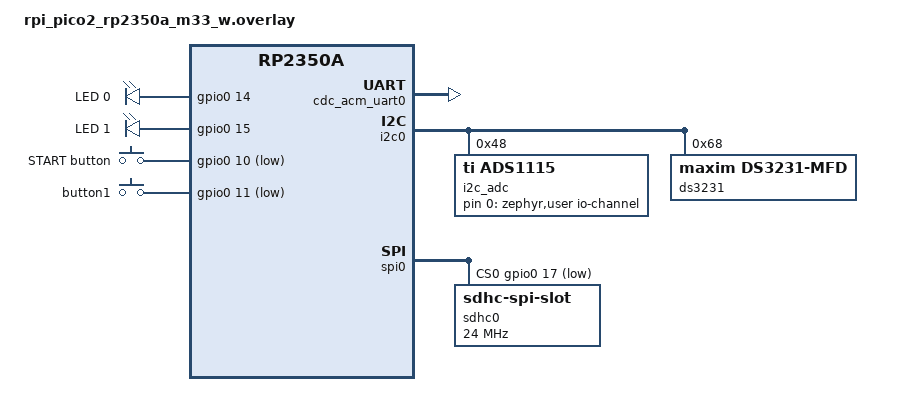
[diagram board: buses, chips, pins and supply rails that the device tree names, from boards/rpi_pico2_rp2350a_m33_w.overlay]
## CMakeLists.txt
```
cmake_minimum_required(VERSION 3.20.0)

find_package(Zephyr)
project(my_zephyr_app)

target_sources(app PRIVATE src/main.c src/heat_sensor.c src/write.c)
target_include_directories(app PRIVATE src/)
```

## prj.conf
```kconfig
CONFIG_GPIO=y
CONFIG_INPUT=y
#CONFIG_INPUT_EVENT_DUMP=y

CONFIG_ADC_INIT_PRIORITY=50
CONFIG_I2C_DW_CLOCK_SPEED=150
CONFIG_POLL=y
CONFIG_ADC=y
CONFIG_ADC_ASYNC=y
CONFIG_ADC_STREAM=y

CONFIG_ADC_ADS1X1X=y
CONFIG_ADC_ADS1X1X_INIT_PRIORITY=80
CONFIG_ADC_ADS1X1X_ACQUISITION_THREAD_PRIO=0
CONFIG_ADC_ADS1X1X_ACQUISITION_THREAD_STACK_SIZE=1024
#CONFIG_ADC_RPI_PICO=y


CONFIG_RTC=y

CONFIG_I2C=y
CONFIG_I2C_SHELL_BUFFER_SIZE=16
CONFIG_I2C_CALLBACK=y

CONFIG_I2C_DW=y
CONFIG_I2C_DW_RW_TIMEOUT_MS=100
CONFIG_I2C_INIT_PRIORITY=50

CONFIG_SYS_MEM_BLOCKS=y

CONFIG_RTIO=y
CONFIG_RTIO_SUBMIT_SEM=y
CONFIG_RTIO_CONSUME_SEM=y
CONFIG_RTIO_SYS_MEM_BLOCKS=y
CONFIG_RTIO_OP_DELAY=y


CONFIG_SERIAL=y
CONFIG_CONSOLE=y
CONFIG_UART_CONSOLE=y
CONFIG_STDOUT_CONSOLE=y
CONFIG_UART_LINE_CTRL=y

CONFIG_USB_DEVICE_STACK_NEXT=y
CONFIG_CDC_ACM_SERIAL_INITIALIZE_AT_BOOT=y
CONFIG_CDC_ACM_SERIAL_PID=0x0004
CONFIG_CDC_ACM_SERIAL_PRODUCT_STRING="USBD console sample"


CONFIG_LOG=y
CONFIG_LOG_MODE_DEFERRED=y
CONFIG_LOG_RUNTIME_FILTERING=y
CONFIG_LOG_BUFFER_SIZE=4096
CONFIG_LOG_PRINTK=y
CONFIG_LOG_PROCESS_TRIGGER_THRESHOLD=0
CONFIG_COVERAGE=n
CONFIG_LOG_TAG_MAX_LEN=8

CONFIG_FILE_SYSTEM=y
CONFIG_FAT_FILESYSTEM_ELM=y
CONFIG_FS_FATFS_MOUNT_MKFS=n
CONFIG_CBPRINTF_LIBC_SUBSTS=y
CONFIG_DISK_ACCESS=y
CONFIG_DISK_LOG_LEVEL_DBG=y
CONFIG_SD_LOG_LEVEL_DBG=y
CONFIG_SDHC_LOG_LEVEL_DBG=y
CONFIG_SDMMC_LOG_LEVEL_DBG=y
```

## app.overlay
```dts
/* SPDX-License-Identifier: Apache-2.0 */



/ {
	zephyr,user {
		io-channels = <&i2c_adc 0>;
	};
    chosen {
        zephyr,console = &cdc_acm_uart0;
    };
	aliases {
		ledok = &led0;
		ledbusy = &led1;
		fluxsensor = &i2c_adc;
	};
	leds {
		compatible = "gpio-leds";

		led0: led_0 {
			gpios = <&gpio0 4 GPIO_ACTIVE_HIGH>;
			label = "LED 0";
		};
		led1: led_1 {
			gpios = <&gpio0 5 GPIO_ACTIVE_HIGH>;
			label = "LED 1";
		};
	};
};


&zephyr_udc0 {
	cdc_acm_uart0: cdc_acm_uart0 {
		compatible = "zephyr,cdc-acm-uart";
	};
};

&pinctrl {
	i2c0_custom: i2c0_custom {
		group1 {
			pinmux = <I2C0_SDA_P0>, <I2C0_SCL_P1>;
			input-enable;
			input-schmitt-enable;
		};
	};


};

&i2c0 {
	status = "okay";
	pinctrl-0 = <&i2c0_custom>;

	i2c_adc: ads1115@48 {
		status = "okay";
		compatible = "ti,ads1115";
		reg = <0x48>;
		#io-channel-cells = <1>;
		#address-cells = <1>;
		#size-cells = <0>;
		channel@0 {
			reg = <0>;
			zephyr,gain = "ADC_GAIN_2";
			zephyr,reference = "ADC_REF_INTERNAL";
			zephyr,acquisition-time = <ADC_ACQ_TIME_DEFAULT>;
			zephyr,differential;
			zephyr,input-positive = <0>;
			zephyr,input-negative = <3>;
			zephyr,resolution = <16>;
		};
	};
};

&spi1 {
	status = "okay";
};

&sdhc0 {
	sdmmc {
		compatible = "zephyr,sdmmc-disk";
		status = "okay";
		//disk-name = "SD";
	};
	status = "okay";
};
```

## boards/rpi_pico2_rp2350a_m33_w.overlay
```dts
/* SPDX-License-Identifier: Apache-2.0 */

#include <zephyr/dt-bindings/input/input-event-codes.h>


/ {
    zephyr,user {
        io-channels = <&i2c_adc 0>;
    };
    chosen {
        zephyr,console = &cdc_acm_uart0;
    };
    aliases {
        rtc = &ds3231_rtc;
        ledok = &led0;
        ledbusy = &led1;
        fluxsensor = &i2c_adc;
        btnstart = &button0;
    };
    leds {
        compatible = "gpio-leds";

        led0: led_0 {
            gpios = <&gpio0 14 GPIO_ACTIVE_HIGH>;
            label = "LED 0";
        };
        led1: led_1 {
            gpios = <&gpio0 15 GPIO_ACTIVE_HIGH>;
            label = "LED 1";
        };
    };
    buttons {
        compatible = "gpio-keys";
        status = "okay";

        button0: button_0 {
            gpios = <&gpio0 10 (GPIO_PULL_UP | GPIO_ACTIVE_LOW)>;
            zephyr,code = <INPUT_KEY_0>;
            label = "START button";
        };
        button1: button_1 {
            gpios = <&gpio0 11 (GPIO_PULL_UP | GPIO_ACTIVE_LOW)>;
            zephyr,code = <INPUT_KEY_1>;
        };
    };
};


&zephyr_udc0 {
	cdc_acm_uart0: cdc_acm_uart0 {
		compatible = "zephyr,cdc-acm-uart";
	};
};

&pinctrl {

};

&i2c0 {
    status = "okay";

    i2c_adc: ads1115@48 {
        status = "okay";
        compatible = "ti,ads1115";
        reg = <0x48>;
        #io-channel-cells = <1>;
        #address-cells = <1>;
        #size-cells = <0>;
        channel@0 {
            reg = <0>;
            zephyr,gain = "ADC_GAIN_2";
            zephyr,reference = "ADC_REF_INTERNAL";
            zephyr,acquisition-time = <ADC_ACQ_TIME_DEFAULT>;
            zephyr,differential;
            zephyr,input-positive = <0>;
            zephyr,input-negative = <3>;
            zephyr,resolution = <16>;
        };
    };

    ds3231: ds3231@68 {
        compatible = "maxim,ds3231-mfd";
        reg = <0x68>;
        status = "okay";

        ds3231_sensor: ds3231_sensor {
                compatible = "maxim,ds3231-sensor";
                status = "okay";
        };

        ds3231_rtc: ds3231_rtc {
                compatible = "maxim,ds3231-rtc";
                status = "okay";

                isw-gpios = <&gpio0 6 (GPIO_PULL_UP | GPIO_ACTIVE_LOW)>;
                //freq-32khz-gpios = <&gpio0 33 (GPIO_PULL_UP | GPIO_ACTIVE_LOW)>;
        };
};
};

&spi0 {
        status = "okay";
        cs-gpios = <&gpio0 17 GPIO_ACTIVE_LOW>;

        sdhc0: sdhc@0 {
                compatible = "zephyr,sdhc-spi-slot";
                reg = <0>;
                status = "okay";
                mmc {
                    compatible = "zephyr,sdmmc-disk";
                    disk-name = "SD";
                    status = "okay";
                };
                spi-max-frequency = <24000000>;
        };
};
```

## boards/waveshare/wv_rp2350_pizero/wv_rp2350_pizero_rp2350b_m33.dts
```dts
/*
 * Copyright (c) 2024 Andrew Featherstone
 * Copyright (c) 2024 Fabien Georget
 *
 * SPDX-License-Identifier: Apache-2.0
 */

/dts-v1/;

#include <raspberrypi/rpi_pico/rp2350b.dtsi>
#include <raspberrypi/rpi_pico/m33.dtsi>

#include <freq.h>

#include <zephyr/dt-bindings/i2c/i2c.h>
#include <zephyr/dt-bindings/pwm/pwm.h>
#include <zephyr/dt-bindings/pinctrl/rpi-pico-rp2350b-pinctrl.h>

&pinctrl {
	uart0_default: uart0_default {
		group1 {
			pinmux = <UART0_TX_P0>;
		};

		group2 {
			pinmux = <UART0_RX_P1>;
			input-enable;
		};
	};

	i2c0_default: i2c0_default {
		group1 {
			pinmux = <I2C0_SDA_P0>, <I2C0_SCL_P1>;
			input-enable;
			input-schmitt-enable;
		};
	};

	i2c1_default: i2c1_default {
		group1 {
			pinmux = <I2C1_SDA_P6>, <I2C1_SCL_P7>;
			input-enable;
			input-schmitt-enable;
		};
	};

	spi0_default: spi0_default {
		group1 {
			pinmux = <SPI0_CSN_P17>, <SPI0_SCK_P18>, <SPI0_TX_P19>;
		};

		group2 {
			pinmux = <SPI0_RX_P16>;
			input-enable;
		};
	};

	spi1_default: spi1_default {
		group1 {
			pinmux = <SPI1_TX_P43>, <SPI1_SCK_P30>, <SPI1_TX_P31>;
		};

		group2 {
			pinmux = <SPI1_RX_P40>;
			input-enable;
		};
	};

	pio0_spi0_default: pio0_spi0_default {
	/* gpio 10 is used for chip select, not assigned to the PIO */
		group1 {
			pinmux = <PIO0_P30>, <PIO0_P31>;
		};
	};

	pwm_ch4b_default: pwm_ch4b_default {
		group1 {
			pinmux = <PWM_4B_P25>;
		};
	};

	adc_default: adc_default {
		group1 {
			pinmux = <ADC_CH1_P41>, <ADC_CH2_P42>, <ADC_CH4_P44>, <ADC_CH5_P45>, <ADC_CH6_P46>, <ADC_CH7_P47>;
			input-enable;
		};
	};
};


/ {
	chosen {
		zephyr,sram = &sram0;
		zephyr,flash = &flash0;
		zephyr,flash-controller = &qmi;
		zephyr,console = &uart0;
		zephyr,shell-uart = &uart0;
	};

	aliases {
		watchdog0 = &wdt0;
	};

	pico_header: connector {
		compatible = "raspberrypi,pico-header";
		#gpio-cells = <2>;
		gpio-map-mask = <0xffffffff 0xffffffc0>;
		gpio-map-pass-thru = <0 0x3f>;
		gpio-map = <0 0 &gpio0 0 0>,	/* GP0 */
			   <1 0 &gpio0 1 0>,	/* GP1 */
			   <2 0 &gpio0 2 0>,	/* GP2 */
			   <3 0 &gpio0 3 0>,	/* GP3 */
			   <4 0 &gpio0 4 0>,	/* GP4 */
			   <5 0 &gpio0 5 0>,	/* GP5 */
			   <6 0 &gpio0 6 0>,	/* GP6 */
			   <7 0 &gpio0 7 0>,	/* GP7 */
			   <8 0 &gpio0 8 0>,	/* GP8 */
			   <9 0 &gpio0 9 0>,	/* GP9 */
			   <10 0 &gpio0 10 0>,	/* GP10 */
			   <11 0 &gpio0 11 0>,	/* GP11 */
			   <12 0 &gpio0 12 0>,	/* GP12 */
			   <13 0 &gpio0 13 0>,	/* GP13 */
			   <14 0 &gpio0 14 0>,	/* GP14 */
			   <15 0 &gpio0 15 0>,	/* GP15 */
			   <16 0 &gpio0 16 0>,	/* GP16 */
			   <17 0 &gpio0 17 0>,	/* GP17 */
			   <18 0 &gpio0 18 0>,	/* GP18 */
			   <19 0 &gpio0 19 0>,	/* GP19 */
			   <20 0 &gpio0 20 0>,	/* GP20 */
			   <21 0 &gpio0 21 0>,	/* GP21 */
			   <22 0 &gpio0 22 0>,	/* GP22 */
			   <26 0 &gpio0 26 0>;	/* GP26 */
	};
};

&flash0 {
	reg = <0x10000000 DT_SIZE_M(16)>;
};

&uart0 {
	current-speed = <115200>;
	status = "okay";
	pinctrl-0 = <&uart0_default>;
	pinctrl-names = "default";
};

gpio0_lo: &gpio0 {
	status = "okay";
};

&spi0 {
	clock-frequency = <DT_FREQ_M(8)>;
	pinctrl-0 = <&spi0_default>;
	pinctrl-names = "default";
};

&pio0 {
	status = "okay";

	pio_spi: pio0_spi0 {
		compatible = "raspberrypi,pico-spi-pio";
		clocks = <&clocks RPI_PICO_CLKID_CLK_SYS>;
		#address-cells = <1>;
		#size-cells = <0>;
		cs-gpios = <&gpio0 43 GPIO_ACTIVE_LOW>;
		clk-gpios = <&gpio0 30 GPIO_ACTIVE_HIGH>;
		mosi-gpios = <&gpio0 31 GPIO_ACTIVE_HIGH>;
		miso-gpios = <&gpio0 40 GPIO_ACTIVE_HIGH>;
		pinctrl-0 = <&pio0_spi0_default>;
		pinctrl-names = "default";
	};

	sdhc0: sdhc {
		compatible = "zephyr,sdhc-spi-slot";
	};
};


&spi1 {
	clock-frequency = <DT_FREQ_M(8)>;
	pinctrl-0 = <&spi1_default>;
	pinctrl-names = "default";

	//cs-gpios = <&gpio0 43 GPIO_ACTIVE_LOW>;

	//clk-gpios = <&gpio0 30 GPIO_ACTIVE_HIGH>;
	//mosi-gpios = <&gpio0 31 GPIO_ACTIVE_HIGH>;
	//miso-gpios = <&gpio0 40 GPIO_ACTIVE_HIGH>;

};

&i2c0 {
	clock-frequency = <I2C_BITRATE_STANDARD>;
	pinctrl-0 = <&i2c0_default>;
	pinctrl-names = "default";
};

&i2c1 {
	clock-frequency = <I2C_BITRATE_STANDARD>;
	pinctrl-0 = <&i2c1_default>;
	pinctrl-names = "default";
};

&adc {
	pinctrl-0 = <&adc_default>;
	pinctrl-names = "default";
};

&pwm {
	pinctrl-0 = <&pwm_ch4b_default>;
	pinctrl-names = "default";
	divider-int-0 = <255>;
};

&timer0 {
	status = "okay";
};

&wdt0 {
	status = "okay";
};

&rng {
	status = "okay";
};

zephyr_udc0: &usbd {
	status = "okay";
};

pico_spi: &spi0 {};

pico_spi0: &spi0 {};

pico_i2c: &i2c0 {};

pico_i2c0: &i2c0 {};

pico_i2c1: &i2c1 {};

pico_serial: &uart0 {};

pico_serial0: &uart0 {};
```

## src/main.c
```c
#include <zephyr/kernel.h>

#include <zephyr/device.h>
#include <zephyr/drivers/uart.h>
#include <zephyr/logging/log.h>

#include <zephyr/sys/printk.h>

#include <zephyr/drivers/gpio.h>
#include <zephyr/input/input.h>
#include <zephyr/device.h>

#include "app.h"
#include "heat_sensor.h"
#include "write.h"
#include "zephyr/dt-bindings/input/input-event-codes.h"



LOG_MODULE_REGISTER(main, LOG_LEVEL_INF);

#define SLEEP_TIME_MS 5000

BUILD_ASSERT(DT_NODE_HAS_COMPAT(DT_CHOSEN(zephyr_console), zephyr_cdc_acm_uart),
	     "Console device is not ACM CDC UART device");

static const struct gpio_dt_spec led_ok = GPIO_DT_SPEC_GET(DT_ALIAS(ledok), gpios);
static const struct gpio_dt_spec led_busy = GPIO_DT_SPEC_GET(DT_ALIAS(ledbusy), gpios);

//static const struct device *const btn_start = DEVICE_DT_GET(DT_ALIAS(btnstart));

int init_leds() {
	int ret;

	if (!gpio_is_ready_dt(&led_ok) || !gpio_is_ready_dt(&led_busy)) {
		LOG_ERR("LEDS not ready");
		return -1;
	}
	ret = gpio_pin_configure_dt(&led_ok, GPIO_OUTPUT_ACTIVE);
	if (ret < 0) {
		LOG_ERR("Cannot set led_ok");
		return ret;
	}
	ret = gpio_pin_configure_dt(&led_busy, GPIO_OUTPUT_INACTIVE);
	if (ret < 0) {
		LOG_ERR("Cannot set led_busy");
		return ret;
	}
	LOG_INF("Leds configured");
	return 0;
}


K_THREAD_STACK_DEFINE(heatsensor_stack_area, 8192);
struct k_thread heatsensor_thread_data;

K_THREAD_STACK_DEFINE(write_stack_area, 8192);
struct k_thread write_thread_data;

K_FIFO_DEFINE(ht_fifo);

INIT_APPSTATE(app_state);

static void btn_start_cb(struct input_event *evt, void *user_data) {
	app_state_t* app_state = (app_state_t *) user_data;
	if (evt->sync == 0) {
		return;
	}
	if (evt->code == INPUT_KEY_0) {
		if (evt->value == 0) {
			if (app_state->measurement_state == OngoingMeasurement) {
				app_state->measurement_state = StopMeasurement;
			}
			else if (app_state->measurement_state == StoppedMeasurement) {
				app_state->measurement_state = StartMeasurement;
			}
		}
	}
}
INPUT_CALLBACK_DEFINE(NULL, btn_start_cb, &app_state);


int main(void)
{


	int ret;
	bool led_state = true;

	const struct device *const dev = DEVICE_DT_GET(DT_CHOSEN(zephyr_console));
	uint32_t dtr = 0;



	LOG_INF("Initialization console");
	/* Poll if the DTR flag was set */
	while (!dtr) {
		uart_line_ctrl_get(dev, UART_LINE_CTRL_DTR, &dtr);
		LOG_INF("Initialization console in progress");
		/* Give CPU resources to low priority threads. */
		k_sleep(K_MSEC(100));
	}
	LOG_PRINTK("Console ready !\n");

	k_sleep(K_SECONDS(1));

	if (init_leds() < 0) {
		LOG_ERR("LEDS Not ready, aborting");
		//return 0;
	}

	k_tid_t heat_sensor_tid = k_thread_create(
		&heatsensor_thread_data, heatsensor_stack_area,
		K_THREAD_STACK_SIZEOF(heatsensor_stack_area),
		heat_sensor_thread,
		(void *) &ht_fifo, (void *) &app_state, NULL,
		5, 0, K_NO_WAIT);
	LOG_INF("Start heat sensor thread");
	k_tid_t write_tid = k_thread_create(
		&write_thread_data, write_stack_area,
		K_THREAD_STACK_SIZEOF(write_stack_area),
		write_thread,
		(void *) &ht_fifo, NULL, NULL,
		20, 0, K_NO_WAIT);
	LOG_INF("Start write thread");

	while (1) {
		switch (app_state.measurement_state) {
			case StartMeasurement:
				LOG_PRINTK("--- Start Measurement ---\n");
				gpio_pin_configure_dt(&led_busy, GPIO_OUTPUT_ACTIVE);
				gpio_pin_configure_dt(&led_ok, GPIO_OUTPUT_INACTIVE);
				app_state.measurement_state = OngoingMeasurement;
				break;
			case StopMeasurement:
				LOG_PRINTK("--- Stop Measurement ---\n");
				gpio_pin_configure_dt(&led_busy, GPIO_OUTPUT_INACTIVE);
				gpio_pin_configure_dt(&led_ok, GPIO_OUTPUT_ACTIVE);
				app_state.measurement_state = StoppedMeasurement;
				break;
			default:
				break;
		};
		k_sleep(K_MSEC(10));
	}

	return 0;
}
```

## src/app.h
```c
/*
 * Shared information
 *
 */

#ifndef CALORIMETER_APP_H
#define CALORIMETER_APP_H

#include <stdbool.h>

// State of the SD card reader
// ---------------------------
typedef enum {
    SDCardError = -1, // Some error happen
    SDCardNoInit = 0,
    SDCardInit = 1
} SDCardState;

typedef enum {
    StartMeasurement,
    OngoingMeasurement,
    StopMeasurement,
    StoppedMeasurement
} MeasurementState;

// Holders for the various shared values
typedef struct {

    MeasurementState measurement_state;
    SDCardState sd_card_state;

} app_state_t;

#define INIT_APPSTATE(X) static app_state_t X = {.measurement_state=StoppedMeasurement, .sd_card_state=SDCardNoInit}

#endif // CALORIMETER_APP_H
```

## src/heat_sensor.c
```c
#include "heat_sensor.h"
#include "app.h"

#include <zephyr/kernel.h>
#include <zephyr/device.h>

#include <zephyr/logging/log.h>
#include <zephyr/sys/printk.h>
#include <zephyr/drivers/gpio.h>
#include <zephyr/drivers/i2c.h>
#include <zephyr/drivers/adc.h>

// Configuration
// -------------

// time between measure
#define TIME_BETWEEN_MEASURE K_SECONDS(2)

// Logging
// --------
LOG_MODULE_REGISTER(heat_sensor, LOG_LEVEL_INF);

// Devices from DT
// ---------------
static const struct adc_dt_spec fluxsensor = ADC_DT_SPEC_GET_BY_IDX(DT_PATH(zephyr_user), 0);
const struct device *const rtc = DEVICE_DT_GET(DT_ALIAS(rtc));

/* Get time from the RTC module
 */
static int get_date_time(struct rtc_time* tm) {
    int ret = rtc_get_time(rtc, tm);
    if (ret < 0) {
        LOG_ERR("Cannot read date time: %d\n", ret);
        return ret;
    }
    return 0;
}

/* @brief Measure heat flow
 *
 * @param sequence Structure defining an ADC sampling sequence
 * @param measure  Structure contenant le résultat
 *
 * @return True if measure and conversion was successful
 */
bool measure_heat(struct adc_sequence* sequence, heat_measure_t *measure) {
    int ret = adc_read_dt(&fluxsensor, sequence);
    if (ret < 0) {
        LOG_ERR("Could not read channel %d\n", ret);
        return false;
    }
    get_date_time(&(measure->time));
    measure->uv  = (int32_t)(*((int16_t*) sequence->buffer));
    ret = adc_raw_to_microvolts_dt(&fluxsensor, &(measure->uv));
    LOG_PRINTK(" = %"PRId32" uV\n", measure->uv);
    return true;
}

/* @brief Initialize the ADC
 *
 * @param sequence Structure defining an ADC sampling sequence
 *
 * @return 0 si initialization succesful, <0 if error
 */
static int init_adc(struct adc_sequence* sequence) {
    /* Configure channels individually prior to sampling. */
    adc_sequence_init_dt(&fluxsensor, sequence);
    if (!adc_is_ready_dt(&fluxsensor)) {
        LOG_ERR("ADC controller device %s not ready\n", fluxsensor.dev->name);
        return -1;
    }
    int err = adc_channel_setup_dt(&fluxsensor);
    if (err < 0) {
        LOG_ERR("Could not setup channel %d\n", err);
        return err;
    }
    LOG_INF("ADC: Initialized");
    return 0;
}

void heat_sensor_thread(void *p1, void *p2, void *p3) {
    struct k_fifo* ht_fifo = (struct k_fifo*) p1;
    app_state_t* app_state = (app_state_t*) p2;
    uint16_t buf; // The main buffer

    struct adc_sequence sequence;
    sequence.buffer = &buf;
    sequence.buffer_size = sizeof(buf);/* buffer size in bytes, not number of samples */

    // Initialize The ADC
    init_adc(&sequence);

    while (1) {
        // TODO use ISR
        if (app_state->measurement_state == OngoingMeasurement) {
            heat_measure_t measure;
            measure_heat(&sequence, &measure);

            k_fifo_put(ht_fifo, &measure);
        }

        k_sleep(TIME_BETWEEN_MEASURE);
    }
}
```

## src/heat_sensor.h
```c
#ifndef CALO_HEAT_SENSOR_H
#define CALO_HEAT_SENSOR_H

#include <zephyr/drivers/rtc.h>

typedef struct {
    // A type to store the reseult of a measurement
    // aimed to be send through a FIFO queue for further processing
    void *fifo_reserved;
    struct rtc_time time;
    int32_t uv;
} heat_measure_t;

/* The main entry point of the thread responsible to measure the heat flux
 *
 */
void heat_sensor_thread(void *ht_fifo, void *app_state, void *p3);

#endif //CALO_HEAT_SENSOR_H
```

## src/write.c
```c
#include "write.h"
#include "heat_sensor.h"

#include <string.h>
#include <zephyr/kernel.h>
#include <zephyr/device.h>
#include <zephyr/storage/disk_access.h>
#include <zephyr/logging/log.h>
#include <zephyr/fs/fs.h>
#include <zephyr/drivers/uart.h>


LOG_MODULE_REGISTER(write_thread, LOG_LEVEL_INF);

#if defined(CONFIG_FAT_FILESYSTEM_ELM)

#include <ff.h>

/*
 *  Note the fatfs library is able to mount only strings inside _VOLUME_STRS
 *  in ffconf.h
 */
#if defined(CONFIG_DISK_DRIVER_MMC)
#define DISK_DRIVE_NAME "SD2"
#else
#define DISK_DRIVE_NAME "SD"
#endif

#define DISK_MOUNT_PT "/"DISK_DRIVE_NAME":"

static FATFS fat_fs;
/* mounting info */
static struct fs_mount_t mp = {
    .type = FS_FATFS,
    .fs_data = &fat_fs,
};

#elif defined(CONFIG_FILE_SYSTEM_EXT2)

#include <zephyr/fs/ext2.h>

#define DISK_DRIVE_NAME "SD"
#define DISK_MOUNT_PT "/ext"

static struct fs_mount_t mp = {
    .type = FS_EXT2,
    .flags = FS_MOUNT_FLAG_NO_FORMAT,
    .storage_dev = (void *)DISK_DRIVE_NAME,
    .mnt_point = "/ext",
};

#endif

#if defined(CONFIG_FAT_FILESYSTEM_ELM)
#define FS_RET_OK FR_OK
#else
#define FS_RET_OK 0
#endif


#define MAX_PATH 128
#define SOME_FILE_NAME "some.dat"
#define SOME_DIR_NAME "some"
#define SOME_REQUIRED_LEN MAX(sizeof(SOME_FILE_NAME), sizeof(SOME_DIR_NAME))


static bool write_to_file(const char *base_path, heat_measure_t *data)
{
    char path[MAX_PATH];
    struct fs_file_t file;
    int base = strlen(base_path);

    fs_file_t_init(&file);


    strncpy(path, base_path, sizeof(path));

    path[base++] = '/';
    path[base] = 0;
    strcat(&path[base], SOME_FILE_NAME);


    if (fs_open(&file, path, FS_O_CREATE | FS_O_RDWR | FS_O_APPEND) != 0) {
        LOG_ERR("Failed to open file %s", path);
        return false;
    }
    char buf[128];
    sprintf(buf, "%04d-%02d-%02d %02d:%02d:%02d - %"PRId32" uV\n",
            data->time.tm_year + 1900,
            data->time.tm_mon + 1,
            data->time.tm_mday,
            data->time.tm_hour,
            data->time.tm_min,
            data->time.tm_sec,
            data->uv);
    int ret = fs_write(&file, buf, strlen(buf));
    if (ret < 0) {
        LOG_ERR("FAIL: write %s: %d", path, ret);
    }

    if (fs_close(&file)) {
        LOG_ERR("Failed to open file %s", path);
        return false;
    }
    return true;
}


static const char *disk_mount_pt = DISK_MOUNT_PT;
void write_thread(void *p1, void *p2, void *p3) {

    struct k_fifo *ht_fifo = (struct k_fifo*) p1;

    k_sleep(K_SECONDS(1));
    /* raw disk i/o */
    do {
        static const char *disk_pdrv = DISK_DRIVE_NAME;
        uint64_t memory_size_mb;
        uint32_t block_count;
        uint32_t block_size;

        if (disk_access_ioctl(disk_pdrv,
            DISK_IOCTL_CTRL_INIT, NULL) != 0) {
            LOG_ERR("Storage init ERROR!");
        break;
            }

            if (disk_access_ioctl(disk_pdrv,
                DISK_IOCTL_GET_SECTOR_COUNT, &block_count)) {
                LOG_ERR("Unable to get sector count");
            break;
                }
                LOG_INF("Block count %u", block_count);

                if (disk_access_ioctl(disk_pdrv,
                    DISK_IOCTL_GET_SECTOR_SIZE, &block_size)) {
                    LOG_ERR("Unable to get sector size");
                break;
                    }
                    LOG_PRINTK("Sector size %u\n", block_size);

                    memory_size_mb = (uint64_t)block_count * block_size;
                    LOG_PRINTK("Memory Size(MB) %u\n", (uint32_t)(memory_size_mb >> 20));

                    if (disk_access_ioctl(disk_pdrv,
                        DISK_IOCTL_CTRL_DEINIT, NULL) != 0) {
                        LOG_ERR("Storage deinit ERROR!");
                    break;
                        }
    } while (0);

    mp.mnt_point = disk_mount_pt;

    int res = fs_mount(&mp);
    if (res != FS_RET_OK) {
        LOG_PRINTK("Error mounting disk.\n");
        k_sleep(K_SECONDS(1));
    }
    while (1) {
        /* Try to unmount and remount the disk */
        if (!k_fifo_is_empty(ht_fifo)) {
            heat_measure_t *data = NULL;
            data = k_fifo_get(ht_fifo, K_MSEC(100));
            if (data != NULL) {
                bool has_written = write_to_file(disk_mount_pt, data);
                if (!has_written) {
                    LOG_ERR("failed !");
                }
            }
        }
        k_sleep(K_MSEC(100));
    }

    fs_unmount(&mp);
}
```

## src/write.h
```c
#ifndef WRITE_THREAD_H
#define WRITE_THREAD_H

void write_thread(void *ht_fifo, void *app_state, void *p3);

#endif
```
